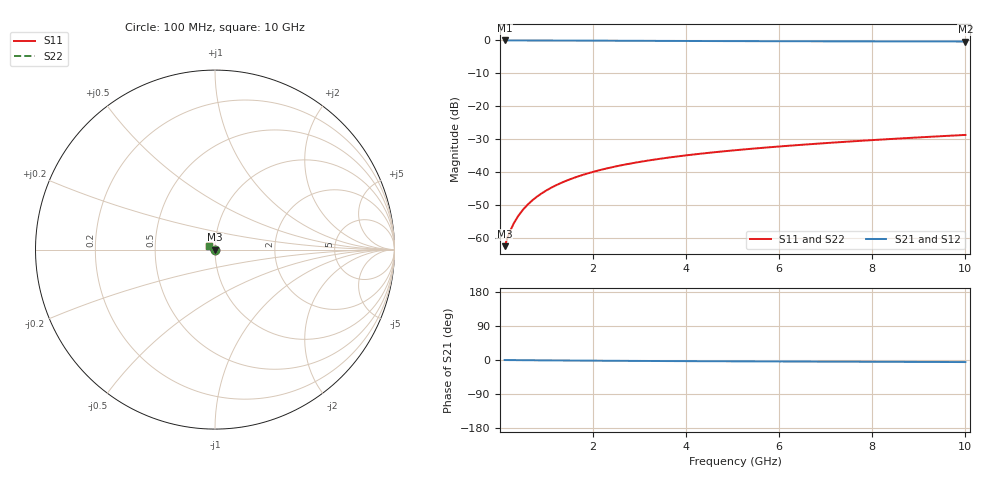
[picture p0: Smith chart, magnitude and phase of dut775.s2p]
! Touchstone file exported from HFSS 2024.1.0
!  File:  C:/UserFiles/LocalFiles/RDL_TSV_Batchsim/temp_TSV1_775_1779873859.aedt
!  Generated:  05:31:47 PM May 27, 2026
!  Design:  TSV1
!  Project:  temp_TSV1_775_1779873859
!  Setup:  Setup1
!  Solution:  Sweep
! Variables:
!  dtsv = 5.11um
!  hbump = 3um
!  htsv = 81.85um
!  lrdl = 252.1521522um
!  p = 40
!  p1 = 43.85um
!  t = 500um
!  trdl = 3um
!  wrdl = 24.89489489um
# GHz S MA R 50.000000
! Terminal data exported
! Port[1] = TSV22_T1
! Port[2] = TSV22_T2
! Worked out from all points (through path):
!   100 points, 100 MHz to 10 GHz, reference 50 ohm
!   highest |S21| = 0.00 dB at 100 MHz (marker M1); lowest = -0.3 dB at 10 GHz (marker M2)
!   lowest |S11| = -62.5 dB at 100 MHz (marker M3), VSWR 1.00, Z = 50.1 - j0.0541 ohm
!   |S11| at or under -10 dB: start of sweep to end of sweep
!   |S22| runs from -62.5 to -28.7 dB; largest |S21 - S12| = 3e-15
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0.1  0.0007496 -46.2  0.9994 -0.1  0.9994 -0.1  0.0007496 -46.2
! Gamma 0 0 0 0
! Port Impedance 50 0 50 0
0.2  0.00119 -66.9  0.9994 -0.2  0.9994 -0.2  0.00119 -66.9
0.3  0.001685 -77.3  0.9993 -0.3  0.9993 -0.3  0.001685 -77.3
0.4  0.002196 -83.9  0.9991 -0.4  0.9991 -0.4  0.002196 -83.9
0.5  0.002712 -88.9  0.9989 -0.5  0.9989 -0.5  0.002712 -88.9
0.6  0.00323 -92.9  0.9987 -0.6  0.9987 -0.6  0.00323 -92.9
0.7  0.003747 -96.3  0.9984 -0.7  0.9984 -0.7  0.003747 -96.3
0.8  0.004262 -99.4  0.9982 -0.8  0.9982 -0.8  0.004262 -99.4
0.9  0.004774 -102.3  0.9978 -0.9  0.9978 -0.9  0.004774 -102.3
1  0.005282 -105.0  0.9975 -1.0  0.9975 -1.0  0.005282 -105.0
1.2  0.006285 -110.0  0.9967 -1.1  0.9967 -1.1  0.006285 -110.0
1.5  0.00775 -116.9  0.9953 -1.4  0.9953 -1.4  0.00775 -116.9
1.8  0.009163 -123.3  0.9938 -1.6  0.9938 -1.6  0.009163 -123.3
2.1  0.01052 -129.3  0.9921 -1.9  0.9921 -1.9  0.01052 -129.3
2.5  0.01224 -136.8  0.9898 -2.1  0.9898 -2.1  0.01224 -136.8
2.9  0.01387 -143.8  0.9874 -2.4  0.9874 -2.4  0.01387 -143.8
3.4  0.01579 -151.8  0.9846 -2.7  0.9846 -2.7  0.01579 -151.8
4.2  0.01865 -163.1  0.9804 -3.1  0.9804 -3.1  0.01865 -163.1
5.1  0.02164 -174.1  0.9763 -3.5  0.9763 -3.5  0.02164 -174.1
6.7  0.02666 170.0  0.9707 -4.2  0.9707 -4.2  0.02665 170.0
8.4  0.03184 157.1  0.9665 -4.8  0.9665 -4.8  0.03184 157.1
10  0.0367 147.6  0.9636 -5.5  0.9636 -5.5  0.0367 147.6
